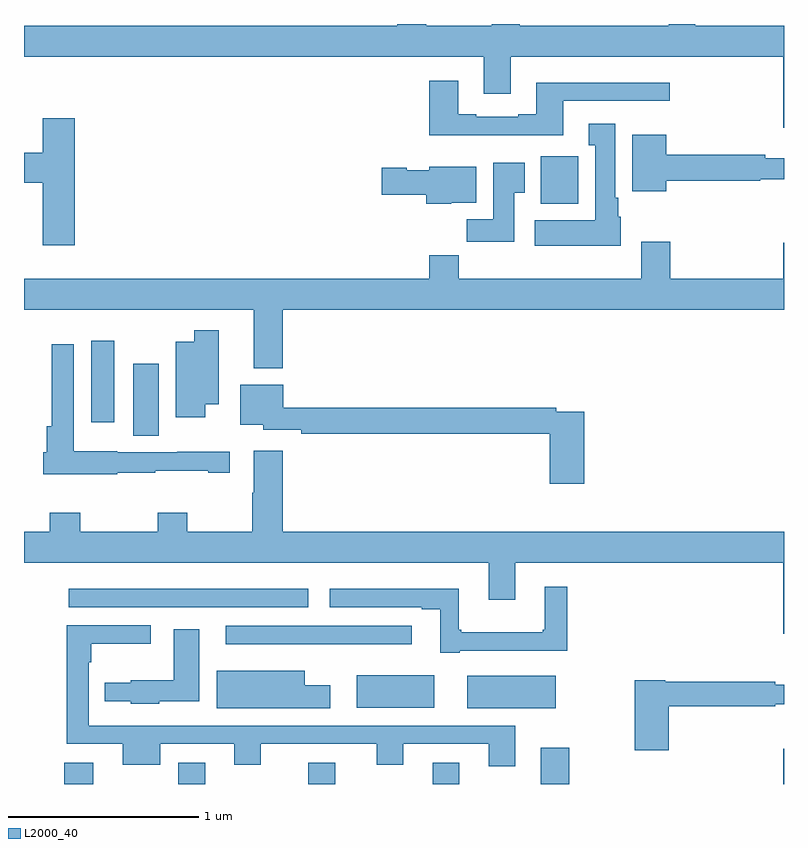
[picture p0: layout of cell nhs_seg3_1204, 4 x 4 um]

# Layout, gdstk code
import gdstk
lib = gdstk.Library(unit=1e-6, precision=1e-09)
def R(c, l, rs):  # rectangles x0, y0, x1, y1
    for r in rs: c.add(gdstk.rectangle(r[:2], r[2:], *l))
def P(c, l, *ps):  # polygons
    for p in ps: c.add(gdstk.Polygon(p, *l))
L2000_40 = (2000, 40)

nhs_seg3_1204 = lib.new_cell('nhs_seg3_1204')
R(nhs_seg3_1204, L2000_40, [(173.213,718.4,173.365,718.513), (173.813,718.4,173.953,718.513), (174.497,718.4,174.637,718.513), (175.151,718.4,175.291,718.513), (175.721,718.4,175.869,718.591), (176.996,718.4,177,718.585), (175.334,718.799,175.798,718.969), (174.752,718.802,175.159,718.972), (174.063,719.135,175.042,719.232), (173.235,719.331,174.496,719.428), (173.576,720.232,173.71,720.613), (173.354,720.303,173.476,720.733), (175.721,721.454,175.917,721.705)])
P(nhs_seg3_1204, L2000_40, [(175.117,722.4),(174.965,722.4),(174.965,722.392),(173,722.392),(173,722.228),(175.421,722.228),(175.421,722.034),(175.561,722.034),(175.561,722.228),(176.996,722.228),(176.996,721.854),(177,721.854),(177,722.392),(176.533,722.392),(176.533,722.4),(176.393,722.4),(176.393,722.392),(175.609,722.392),(175.609,722.4),(175.462,722.4),(175.462,722.392),(175.117,722.392)],
  [(175.837,721.995),(176.398,721.995),(176.398,722.092),(175.697,722.092),(175.697,721.924),(175.601,721.924),(175.601,721.911),(175.381,721.911),(175.381,721.924),(175.285,721.924),(175.285,722.101),(175.133,722.101),(175.133,721.814),(175.837,721.814)],
  [(173.267,721.903),(173.099,721.903),(173.099,721.723),(173,721.723),(173,721.565),(173.099,721.565),(173.099,721.236),(173.267,721.236)],
  [(176.14,721.386),(176.128,721.386),(176.128,721.486),(176.113,721.486),(176.113,721.876),(175.973,721.876),(175.973,721.763),(176.006,721.763),(176.006,721.366),(175.689,721.366),(175.689,721.232),(176.14,721.232)],
  [(176.38,721.576),(176.876,721.576),(176.876,721.584),(177,721.584),(177,721.693),(176.9,721.693),(176.9,721.712),(176.38,721.712),(176.38,721.816),(176.201,721.816),(176.201,721.52),(176.38,721.52)],
  [(175.579,721.513),(175.636,721.513),(175.636,721.669),(175.469,721.669),(175.469,721.372),(175.33,721.372),(175.33,721.254),(175.579,721.254)],
  [(175.248,721.46),(175.381,721.46),(175.381,721.648),(175.134,721.648),(175.134,721.63),(175.014,721.63),(175.014,721.643),(174.882,721.643),(174.882,721.501),(175.118,721.501),(175.118,721.454),(175.248,721.454)],
  [(174.362,720.896),(177,720.896),(177,721.249),(176.996,721.249),(176.996,721.06),(176.402,721.06),(176.402,721.255),(176.249,721.255),(176.249,721.06),(175.289,721.06),(175.289,721.184),(175.133,721.184),(175.133,721.06),(173,721.06),(173,720.896),(174.209,720.896),(174.209,720.587),(174.362,720.587)],
  [(173.953,720.398),(174.025,720.398),(174.025,720.787),(173.896,720.787),(173.896,720.727),(173.798,720.727),(173.798,720.33),(173.953,720.33)],
  [(173.49,720.039),(173.69,720.039),(173.69,720.049),(173.969,720.049),(173.969,720.039),(174.082,720.039),(174.082,720.149),(173.806,720.149),(173.806,720.147),(173.49,720.147),(173.49,720.151),(173.262,720.151),(173.262,720.715),(173.146,720.715),(173.146,720.283),(173.12,720.283),(173.12,720.147),(173.102,720.147),(173.102,720.029),(173.49,720.029)],
  [(175.949,720.36),(175.802,720.36),(175.802,720.38),(174.364,720.38),(174.364,720.502),(174.137,720.502),(174.137,720.29),(174.258,720.29),(174.258,720.264),(174.46,720.264),(174.46,720.244),(175.766,720.244),(175.766,719.979),(175.949,719.979)],
  [(174.362,720.154),(174.209,720.154),(174.209,719.933),(174.202,719.933),(174.202,719.728),(173.859,719.728),(173.859,719.827),(173.704,719.827),(173.704,719.728),(173.295,719.728),(173.295,719.827),(173.135,719.827),(173.135,719.728),(173,719.728),(173,719.564),(175.445,719.564),(175.445,719.37),(175.585,719.37),(175.585,719.564),(176.996,719.564),(176.996,719.19),(177,719.19),(177,719.728),(174.362,719.728)],
  [(175.294,719.102),(175.859,719.102),(175.859,719.437),(175.742,719.437),(175.742,719.212),(175.731,719.212),(175.731,719.2),(175.3,719.2),(175.3,719.212),(175.288,719.212),(175.288,719.428),(174.609,719.428),(174.609,719.331),(175.094,719.331),(175.094,719.319),(175.19,719.319),(175.19,719.091),(175.294,719.091)],
  [(175.585,718.707),(173.34,718.707),(173.34,719.042),(173.353,719.042),(173.353,719.138),(173.668,719.138),(173.668,719.235),(173.224,719.235),(173.224,718.611),(173.519,718.611),(173.519,718.502),(173.716,718.502),(173.716,718.611),(174.107,718.611),(174.107,718.502),(174.247,718.502),(174.247,718.611),(174.857,718.611),(174.857,718.502),(174.997,718.502),(174.997,718.611),(175.445,718.611),(175.445,718.494),(175.585,718.494)],
  [(173.712,718.835),(173.923,718.835),(173.923,719.215),(173.789,719.215),(173.789,718.945),(173.562,718.945),(173.562,718.934),(173.425,718.934),(173.425,718.836),(173.562,718.836),(173.562,718.823),(173.712,718.823)],
  [(174.613,718.921),(174.478,718.921),(174.478,718.996),(174.014,718.996),(174.014,718.799),(174.613,718.799)],
  [(176.393,718.809),(176.954,718.809),(176.954,718.819),(177,718.819),(177,718.922),(176.954,718.922),(176.954,718.937),(176.376,718.937),(176.376,718.945),(176.215,718.945),(176.215,718.578),(176.393,718.578)])

lib.write_gds('nhs_seg3_1204.gds')
